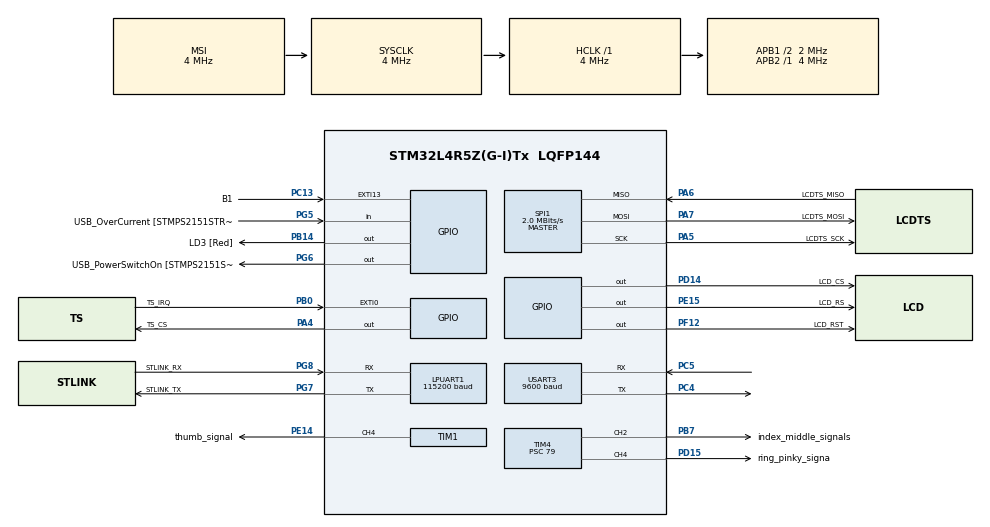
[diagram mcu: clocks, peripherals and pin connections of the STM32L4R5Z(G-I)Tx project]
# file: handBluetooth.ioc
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Dma.Request0=SPI1_RX
Dma.Request1=SPI1_TX
Dma.SPI1_RX.0.Direction=DMA_PERIPH_TO_MEMORY
Dma.SPI1_RX.0.EventEnable=DISABLE
Dma.SPI1_RX.0.Instance=DMA1_Channel1
Dma.SPI1_RX.0.MemDataAlignment=DMA_MDATAALIGN_BYTE
Dma.SPI1_RX.0.MemInc=DMA_MINC_ENABLE
Dma.SPI1_RX.0.Mode=DMA_NORMAL
Dma.SPI1_RX.0.PeriphDataAlignment=DMA_PDATAALIGN_HALFWORD
Dma.SPI1_RX.0.PeriphInc=DMA_PINC_DISABLE
Dma.SPI1_RX.0.Polarity=HAL_DMAMUX_REQUEST_GEN_RISING
Dma.SPI1_RX.0.Priority=DMA_PRIORITY_LOW
Dma.SPI1_RX.0.RequestNumber=1
Dma.SPI1_RX.0.SignalID=NONE
Dma.SPI1_RX.0.SyncEnable=DISABLE
Dma.SPI1_RX.0.SyncPolarity=HAL_DMAMUX_SYNC_NO_EVENT
Dma.SPI1_RX.0.SyncRequestNumber=1
Dma.SPI1_RX.0.SyncSignalID=NONE
Dma.SPI1_TX.1.Direction=DMA_MEMORY_TO_PERIPH
Dma.SPI1_TX.1.EventEnable=DISABLE
Dma.SPI1_TX.1.Instance=DMA1_Channel2
Dma.SPI1_TX.1.MemDataAlignment=DMA_MDATAALIGN_BYTE
Dma.SPI1_TX.1.MemInc=DMA_MINC_ENABLE
Dma.SPI1_TX.1.Mode=DMA_NORMAL
Dma.SPI1_TX.1.PeriphDataAlignment=DMA_PDATAALIGN_BYTE
Dma.SPI1_TX.1.PeriphInc=DMA_PINC_DISABLE
Dma.SPI1_TX.1.Polarity=HAL_DMAMUX_REQUEST_GEN_RISING
Dma.SPI1_TX.1.Priority=DMA_PRIORITY_LOW
Dma.SPI1_TX.1.RequestNumber=1
Dma.SPI1_TX.1.SignalID=NONE
Dma.SPI1_TX.1.SyncEnable=DISABLE
Dma.SPI1_TX.1.SyncPolarity=HAL_DMAMUX_SYNC_NO_EVENT
Dma.SPI1_TX.1.SyncRequestNumber=1
Dma.SPI1_TX.1.SyncSignalID=NONE
LPUART1.BaudRate=115200
LPUART1.WordLength=UART_WORDLENGTH_8B
Mcu.Family=STM32L4
Mcu.Name=STM32L4R5Z(G-I)Tx
Mcu.Package=LQFP144
NVIC.DMA1_Channel1_IRQn=true\:0\:0\:false\:false\:true\:false\:true\:true
NVIC.DMA1_Channel2_IRQn=true\:0\:0\:false\:false\:true\:false\:true\:true
NVIC.EXTI0_IRQn=true\:0\:0\:false\:false\:true\:true\:true\:true
NVIC.PriorityGroup=NVIC_PRIORITYGROUP_4
NVIC.SPI1_IRQn=true\:0\:0\:false\:false\:true\:true\:true\:true
NVIC.USART3_IRQn=true\:0\:0\:false\:false\:true\:true\:true\:true
PA10.GPIO_Label=USB_ID
PA10.Signal=USB_OTG_FS_ID
PA11.GPIO_Label=USB_DM
PA11.Signal=USB_OTG_FS_DM
PA12.GPIO_Label=USB_DP
PA12.Signal=USB_OTG_FS_DP
PA13\ (JTMS/SWDIO).GPIO_Label=TMS
PA13\ (JTMS/SWDIO).Signal=SYS_JTMS-SWDIO
PA14\ (JTCK/SWCLK).GPIO_Label=TCK
PA14\ (JTCK/SWCLK).Signal=SYS_JTCK-SWCLK
PA4.GPIO_Label=TS_CS
PA4.PinState=GPIO_PIN_SET
PA4.Signal=GPIO_Output
PA5.GPIO_Label=LCDTS_SCK
PA5.Mode=Full_Duplex_Master
PA5.Signal=SPI1_SCK
PA6.GPIO_Label=LCDTS_MISO
PA6.Mode=Full_Duplex_Master
PA6.Signal=SPI1_MISO
PA7.GPIO_Label=LCDTS_MOSI
PA7.Mode=Full_Duplex_Master
PA7.Signal=SPI1_MOSI
PA8.GPIO_Label=USB_SOF [TP1]
PA8.Signal=USB_OTG_FS_SOF
PA9.GPIO_Label=USB_VBUS
PA9.Signal=USB_OTG_FS_VBUS
PB0.GPIO_Label=TS_IRQ
PB0.GPIO_ModeDefaultEXTI=GPIO_MODE_IT_FALLING
PB0.GPIO_PuPd=GPIO_NOPULL
PB0.Signal=GPXTI0
PB14.GPIO_Label=LD3 [Red]
PB14.PinState=GPIO_PIN_RESET
PB14.Signal=GPIO_Output
PB7.GPIO_Label=index_middle_signals
PB7.Signal=S_TIM4_CH2
PC13.GPIO_Label=B1
PC13.Signal=GPXTI13
PC14-OSC32_IN\ (PC14).Mode=LSE-External-Oscillator
PC14-OSC32_IN\ (PC14).Signal=RCC_OSC32_IN
PC15-OSC32_OUT\ (PC15).Mode=LSE-External-Oscillator
PC15-OSC32_OUT\ (PC15).Signal=RCC_OSC32_OUT
PC4.Mode=Asynchronous
PC4.Signal=USART3_TX
PC5.Mode=Asynchronous
PC5.Signal=USART3_RX
PD14.GPIO_Label=LCD_CS
PD14.GPIO_Speed=GPIO_SPEED_FREQ_VERY_HIGH
PD14.PinState=GPIO_PIN_SET
PD14.Signal=GPIO_Output
PD15.GPIO_Label=ring_pinky_signa
PD15.Signal=S_TIM4_CH4
PE14.GPIO_Label=thumb_signal
PE14.Signal=S_TIM1_CH4
PE15.GPIO_Label=LCD_RS
PE15.GPIO_Speed=GPIO_SPEED_FREQ_VERY_HIGH
PE15.Signal=GPIO_Output
PF12.GPIO_Label=LCD_RST
PF12.GPIO_Speed=GPIO_SPEED_FREQ_LOW
PF12.PinState=GPIO_PIN_SET
PF12.Signal=GPIO_Output
PG5.GPIO_Label=USB_OverCurrent [STMPS2151STR_FAULT]
PG5.Signal=GPIO_Input
PG6.GPIO_Label=USB_PowerSwitchOn [STMPS2151STR_En]
PG6.Signal=GPIO_Output
PG7.GPIO_Label=STLINK_TX
PG7.Mode=Asynchronous
PG7.Signal=LPUART1_TX
PG8.GPIO_Label=STLINK_RX
PG8.Mode=Asynchronous
PG8.Signal=LPUART1_RX
PH0-OSC_IN\ (PH0).Mode=HSE-External-Clock-Source
PH0-OSC_IN\ (PH0).Signal=RCC_OSC_IN
PH1-OSC_OUT\ (PH1).Signal=RCC_OSC_OUT
ProjectManager.HeapSize=0x200
ProjectManager.StackSize=0x400
ProjectManager.TargetToolchain=STM32CubeIDE
RCC.48MHZClocksFreq_Value=24000000
RCC.ADCFreq_Value=16000000
RCC.AHBFreq_Value=4000000
RCC.APB1CLKDivider=RCC_HCLK_DIV2
RCC.APB1Freq_Value=2000000
RCC.APB1TimFreq_Value=4000000
RCC.APB2Freq_Value=4000000
RCC.APB2TimFreq_Value=4000000
RCC.CortexFreq_Value=4000000
RCC.HCLKFreq_Value=4000000
RCC.HSE_VALUE=8000000
RCC.HSI48_VALUE=48000000
RCC.HSI_VALUE=16000000
RCC.MSI_VALUE=4000000
RCC.PLLMUL=RCC_PLL_MUL9
RCC.PRESCALERUSB=RCC_USBCLKSOURCE_PLL_DIV1_5
RCC.SYSCLKFreq_VALUE=4000000
RCC.SYSCLKSourceVirtual=RCC_SYSCLKSOURCE_PLLCLK
RCC.USBFreq_Value=16000000
RCC.VCOOutputFreq_Value=32000000
SH.S_TIM1_CH4.0=TIM1_CH4,PWM Generation4 CH4
SH.S_TIM4_CH2.0=TIM4_CH2,PWM Generation2 CH2
SH.S_TIM4_CH4.0=TIM4_CH4,PWM Generation4 CH4
SPI1.BaudRatePrescaler=SPI_BAUDRATEPRESCALER_2
SPI1.CalculateBaudRate=2.0 MBits/s
SPI1.DataSize=SPI_DATASIZE_8BIT
SPI1.Direction=SPI_DIRECTION_2LINES
SPI1.Mode=SPI_MODE_MASTER
SPI1.VirtualType=VM_MASTER
TIM1.AutoReloadPreload=TIM_AUTORELOAD_PRELOAD_ENABLE
TIM1.Channel-PWM\ Generation4\ CH4=TIM_CHANNEL_4
TIM1.Period=999
TIM1.Prescaler=79
TIM1.Pulse-PWM\ Generation4\ CH4=250
TIM4.AutoReloadPreload=TIM_AUTORELOAD_PRELOAD_ENABLE
TIM4.Channel-PWM\ Generation2\ CH2=TIM_CHANNEL_2
TIM4.Channel-PWM\ Generation4\ CH4=TIM_CHANNEL_4
TIM4.Period=999
TIM4.Prescaler=79
TIM4.Pulse-PWM\ Generation2\ CH2=50
USART3.BaudRate=9600
USART3.VirtualMode-Asynchronous=VM_ASYNC
board=NUCLEO-L4R5ZI

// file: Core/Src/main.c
/* USER CODE BEGIN Header */
/**
  ******************************************************************************
  * @file           : main.c
  * @brief          : Main program body
  ******************************************************************************
  * @attention
  *
  * Copyright (c) 2025 STMicroelectronics.
  * All rights reserved.
  *
  * This software is licensed under terms that can be found in the LICENSE file
  * in the root directory of this software component.
  * If no LICENSE file comes with this software, it is provided AS-IS.
  *
  ******************************************************************************
  */
/* USER CODE END Header */
#include "main.h"

/* USER CODE BEGIN Includes */
#include "game.h"
#include "stdio.h"

/* USER CODE END Includes */

UART_HandleTypeDef hlpuart1;
UART_HandleTypeDef huart3;

SPI_HandleTypeDef hspi1;
DMA_HandleTypeDef hdma_spi1_rx;
DMA_HandleTypeDef hdma_spi1_tx;

TIM_HandleTypeDef htim1;
TIM_HandleTypeDef htim4;

void SystemClock_Config(void);
static void MX_GPIO_Init(void);
static void MX_DMA_Init(void);
static void MX_SPI1_Init(void);
static void MX_TIM1_Init(void);
static void MX_TIM4_Init(void);
static void MX_USART3_UART_Init(void);
static void MX_LPUART1_UART_Init(void);

/* USER CODE BEGIN 0 */
#ifdef __GNUC__
#define PUTCHAR_PROTOTYPE int __io_putchar(int ch)
#else
#define PUTCHAR_PROTOTYPE int fputc(int ch, FILE *f)
#endif

PUTCHAR_PROTOTYPE
{
    HAL_UART_Transmit(&hlpuart1, (uint8_t *)&ch, 1, HAL_MAX_DELAY);
    return ch;
}

uint8_t input_gesture;

uint32_t update_ccr(uint32_t originalVal, uint32_t target) {
	if (target > originalVal) {
		return originalVal + 5;
	}
	else if (target < originalVal) {
		return originalVal - 5;
	}
	return originalVal;
}

void move_hand(Gesture robotMove)
{
	 uint32_t thumb_target;
	 uint32_t index_middle_target;
	 uint32_t ring_pinky_target;
	//  CCR 50 = 0 degrees, CCR 150 = 90 degrees, CCR 250 = 180 degrees

	  if (robotMove == ROCK) { // thumb ccr to 250, other timers' CCR set to 50
		  thumb_target = 250;
		  index_middle_target = 50;
		  ring_pinky_target = 50;
	}
	 else if (robotMove == PAPER) { // thumb ccr to 50, other timers' CCR set to 250
		  thumb_target = 50;
		  index_middle_target = 250;
		  ring_pinky_target = 250;
	 }
	 else if (robotMove == SCISSORS) {
		 thumb_target = 250;
		 index_middle_target = 250;
		 ring_pinky_target = 50;
	 }
	 else if (robotMove == NOCHOICE) {
		 thumb_target = 150;
		 index_middle_target = 125;
		 ring_pinky_target = 125;
	  }
	  uint32_t thumb_ccr =  htim1.Instance->CCR4;
	  uint32_t index_middle_ccr = htim4.Instance->CCR2;
	  uint32_t ring_pinky_ccr = htim4.Instance->CCR4;

	  while (thumb_ccr != thumb_target || (index_middle_target != index_middle_ccr) || (ring_pinky_target != ring_pinky_ccr)) {
		 if (thumb_ccr != thumb_target) {
			 __HAL_TIM_SET_COMPARE(&htim1, TIM_CHANNEL_4, update_ccr(thumb_ccr, thumb_target));
		 }
		 if (index_middle_ccr != index_middle_target) {

			 __HAL_TIM_SET_COMPARE(&htim4, TIM_CHANNEL_2, update_ccr(index_middle_ccr, index_middle_target));
		 }
		 else if (ring_pinky_ccr != ring_pinky_target) {

			 __HAL_TIM_SET_COMPARE(&htim4, TIM_CHANNEL_4, update_ccr(ring_pinky_ccr, ring_pinky_target));
		 }
		thumb_ccr =  htim1.Instance->CCR4;
		index_middle_ccr = htim4.Instance->CCR2;
		ring_pinky_ccr = htim4.Instance->CCR4;
		HAL_Delay(1);
	}

}

void run_all_test() {
	move_hand(PAPER);
	HAL_Delay(2000);
	move_hand(ROCK);
	HAL_Delay(2000);
}

void run_test() {
		move_hand(NOCHOICE);
		  HAL_Delay(2000);
		  move_hand(PAPER);
		  HAL_Delay(2000);
		  move_hand(NOCHOICE);
		  HAL_Delay(2000);
		  move_hand(SCISSORS);
		  HAL_Delay(2000);
		  move_hand(ROCK);
		  HAL_Delay(2000);
}

/* USER CODE END 0 */

int main(void)
{

  /* MCU Configuration--------------------------------------------------------*/

  /* Reset of all peripherals, Initializes the Flash interface and the Systick. */
  HAL_Init();

  /* Configure the system clock */
  SystemClock_Config();

  /* Initialize all configured peripherals */
  MX_GPIO_Init();
  MX_DMA_Init();
  MX_SPI1_Init();
  MX_TIM1_Init();
  MX_TIM4_Init();
  MX_USART3_UART_Init();
  MX_LPUART1_UART_Init();
  /* USER CODE BEGIN 2 */

  // Start timers for hand: start off with paper
   HAL_TIM_PWM_Start(&htim4, TIM_CHANNEL_2);  // index and middle fingers: CCR=250 is stretched, CCR=50 is curled
   HAL_TIM_PWM_Start(&htim4, TIM_CHANNEL_4);
   HAL_TIM_PWM_Start(&htim1, TIM_CHANNEL_4); // thumb finger: CCR=50 is stretched, CCR=250 is curled

  /* USER CODE END 2 */

  /* Infinite loop */
  /* USER CODE BEGIN WHILE */
  while (1)
  {
	  // run_all_test();
	  char cmd;
		     if (HAL_UART_Receive(&huart3, (uint8_t*)&cmd, 1, 1000) == HAL_OK) {
		         printf("Received: %c\r\n", cmd);

		         if (cmd == 'R') move_hand(ROCK);
		         else if (cmd == 'P') move_hand(PAPER);
		         else if (cmd == 'S') move_hand(SCISSORS);
		         else {
		        	 move_hand(NOCHOICE);
		         }

		     }
    /* USER CODE END WHILE */

  }
}

void SystemClock_Config(void)
{
  RCC_OscInitTypeDef RCC_OscInitStruct = {0};
  RCC_ClkInitTypeDef RCC_ClkInitStruct = {0};

  /** Configure the main internal regulator output voltage
  */
  if (HAL_PWREx_ControlVoltageScaling(PWR_REGULATOR_VOLTAGE_SCALE1) != HAL_OK)
  {
    Error_Handler();
  }

  /** Initializes the RCC Oscillators according to the specified parameters
  * in the RCC_OscInitTypeDef structure.
  */
  RCC_OscInitStruct.OscillatorType = RCC_OSCILLATORTYPE_MSI;
  RCC_OscInitStruct.MSIState = RCC_MSI_ON;
  RCC_OscInitStruct.MSICalibrationValue = 0;
  RCC_OscInitStruct.MSIClockRange = RCC_MSIRANGE_6;
  RCC_OscInitStruct.PLL.PLLState = RCC_PLL_NONE;
  if (HAL_RCC_OscConfig(&RCC_OscInitStruct) != HAL_OK)
  {
    Error_Handler();
  }

  /** Initializes the CPU, AHB and APB buses clocks
  */
  RCC_ClkInitStruct.ClockType = RCC_CLOCKTYPE_HCLK|RCC_CLOCKTYPE_SYSCLK
                              |RCC_CLOCKTYPE_PCLK1|RCC_CLOCKTYPE_PCLK2;
  RCC_ClkInitStruct.SYSCLKSource = RCC_SYSCLKSOURCE_MSI;
  RCC_ClkInitStruct.AHBCLKDivider = RCC_SYSCLK_DIV1;
  RCC_ClkInitStruct.APB1CLKDivider = RCC_HCLK_DIV2;
  RCC_ClkInitStruct.APB2CLKDivider = RCC_HCLK_DIV1;

  if (HAL_RCC_ClockConfig(&RCC_ClkInitStruct, FLASH_LATENCY_0) != HAL_OK)
  {
    Error_Handler();
  }
}

static void MX_LPUART1_UART_Init(void)
{

  hlpuart1.Instance = LPUART1;
  hlpuart1.Init.BaudRate = 115200;
  hlpuart1.Init.WordLength = UART_WORDLENGTH_8B;
  hlpuart1.Init.StopBits = UART_STOPBITS_1;
  hlpuart1.Init.Parity = UART_PARITY_NONE;
  hlpuart1.Init.Mode = UART_MODE_TX_RX;
  hlpuart1.Init.HwFlowCtl = UART_HWCONTROL_NONE;
  hlpuart1.Init.OneBitSampling = UART_ONE_BIT_SAMPLE_DISABLE;
  hlpuart1.Init.ClockPrescaler = UART_PRESCALER_DIV1;
  hlpuart1.AdvancedInit.AdvFeatureInit = UART_ADVFEATURE_NO_INIT;
  hlpuart1.FifoMode = UART_FIFOMODE_DISABLE;
  if (HAL_UART_Init(&hlpuart1) != HAL_OK)
  {
    Error_Handler();
  }
  if (HAL_UARTEx_SetTxFifoThreshold(&hlpuart1, UART_TXFIFO_THRESHOLD_1_8) != HAL_OK)
  {
    Error_Handler();
  }
  if (HAL_UARTEx_SetRxFifoThreshold(&hlpuart1, UART_RXFIFO_THRESHOLD_1_8) != HAL_OK)
  {
    Error_Handler();
  }
  if (HAL_UARTEx_DisableFifoMode(&hlpuart1) != HAL_OK)
  {
    Error_Handler();
  }

}

static void MX_USART3_UART_Init(void)
{

  huart3.Instance = USART3;
  huart3.Init.BaudRate = 9600;
  huart3.Init.WordLength = UART_WORDLENGTH_8B;
  huart3.Init.StopBits = UART_STOPBITS_1;
  huart3.Init.Parity = UART_PARITY_NONE;
  huart3.Init.Mode = UART_MODE_TX_RX;
  huart3.Init.HwFlowCtl = UART_HWCONTROL_NONE;
  huart3.Init.OverSampling = UART_OVERSAMPLING_16;
  huart3.Init.OneBitSampling = UART_ONE_BIT_SAMPLE_DISABLE;
  huart3.Init.ClockPrescaler = UART_PRESCALER_DIV1;
  huart3.AdvancedInit.AdvFeatureInit = UART_ADVFEATURE_NO_INIT;
  if (HAL_UART_Init(&huart3) != HAL_OK)
  {
    Error_Handler();
  }
  if (HAL_UARTEx_SetTxFifoThreshold(&huart3, UART_TXFIFO_THRESHOLD_1_8) != HAL_OK)
  {
    Error_Handler();
  }
  if (HAL_UARTEx_SetRxFifoThreshold(&huart3, UART_RXFIFO_THRESHOLD_1_8) != HAL_OK)
  {
    Error_Handler();
  }
  if (HAL_UARTEx_DisableFifoMode(&huart3) != HAL_OK)
  {
    Error_Handler();
  }

}

static void MX_SPI1_Init(void)
{

  /* SPI1 parameter configuration*/
  hspi1.Instance = SPI1;
  hspi1.Init.Mode = SPI_MODE_MASTER;
  hspi1.Init.Direction = SPI_DIRECTION_2LINES;
  hspi1.Init.DataSize = SPI_DATASIZE_8BIT;
  hspi1.Init.CLKPolarity = SPI_POLARITY_LOW;
  hspi1.Init.CLKPhase = SPI_PHASE_1EDGE;
  hspi1.Init.NSS = SPI_NSS_SOFT;
  hspi1.Init.BaudRatePrescaler = SPI_BAUDRATEPRESCALER_2;
  hspi1.Init.FirstBit = SPI_FIRSTBIT_MSB;
  hspi1.Init.TIMode = SPI_TIMODE_DISABLE;
  hspi1.Init.CRCCalculation = SPI_CRCCALCULATION_DISABLE;
  hspi1.Init.CRCPolynomial = 7;
  hspi1.Init.CRCLength = SPI_CRC_LENGTH_DATASIZE;
  hspi1.Init.NSSPMode = SPI_NSS_PULSE_ENABLE;
  if (HAL_SPI_Init(&hspi1) != HAL_OK)
  {
    Error_Handler();
  }

}

static void MX_TIM1_Init(void)
{

  TIM_MasterConfigTypeDef sMasterConfig = {0};
  TIM_OC_InitTypeDef sConfigOC = {0};
  TIM_BreakDeadTimeConfigTypeDef sBreakDeadTimeConfig = {0};

  htim1.Instance = TIM1;
  htim1.Init.Prescaler = 79;
  htim1.Init.CounterMode = TIM_COUNTERMODE_UP;
  htim1.Init.Period = 999;
  htim1.Init.ClockDivision = TIM_CLOCKDIVISION_DIV1;
  htim1.Init.RepetitionCounter = 0;
  htim1.Init.AutoReloadPreload = TIM_AUTORELOAD_PRELOAD_ENABLE;
  if (HAL_TIM_PWM_Init(&htim1) != HAL_OK)
  {
    Error_Handler();
  }
  sMasterConfig.MasterOutputTrigger = TIM_TRGO_RESET;
  sMasterConfig.MasterOutputTrigger2 = TIM_TRGO2_RESET;
  sMasterConfig.MasterSlaveMode = TIM_MASTERSLAVEMODE_DISABLE;
  if (HAL_TIMEx_MasterConfigSynchronization(&htim1, &sMasterConfig) != HAL_OK)
  {
    Error_Handler();
  }
  sConfigOC.OCMode = TIM_OCMODE_PWM1;
  sConfigOC.Pulse = 250;
  sConfigOC.OCPolarity = TIM_OCPOLARITY_HIGH;
  sConfigOC.OCFastMode = TIM_OCFAST_DISABLE;
  sConfigOC.OCIdleState = TIM_OCIDLESTATE_RESET;
  sConfigOC.OCNIdleState = TIM_OCNIDLESTATE_RESET;
  if (HAL_TIM_PWM_ConfigChannel(&htim1, &sConfigOC, TIM_CHANNEL_4) != HAL_OK)
  {
    Error_Handler();
  }
  sBreakDeadTimeConfig.OffStateRunMode = TIM_OSSR_DISABLE;
  sBreakDeadTimeConfig.OffStateIDLEMode = TIM_OSSI_DISABLE;
  sBreakDeadTimeConfig.LockLevel = TIM_LOCKLEVEL_OFF;
  sBreakDeadTimeConfig.DeadTime = 0;
  sBreakDeadTimeConfig.BreakState = TIM_BREAK_DISABLE;
  sBreakDeadTimeConfig.BreakPolarity = TIM_BREAKPOLARITY_HIGH;
  sBreakDeadTimeConfig.BreakFilter = 0;
  sBreakDeadTimeConfig.Break2State = TIM_BREAK2_DISABLE;
  sBreakDeadTimeConfig.Break2Polarity = TIM_BREAK2POLARITY_HIGH;
  sBreakDeadTimeConfig.Break2Filter = 0;
  sBreakDeadTimeConfig.AutomaticOutput = TIM_AUTOMATICOUTPUT_DISABLE;
  if (HAL_TIMEx_ConfigBreakDeadTime(&htim1, &sBreakDeadTimeConfig) != HAL_OK)
  {
    Error_Handler();
  }
  HAL_TIM_MspPostInit(&htim1);

}

static void MX_TIM4_Init(void)
{

  TIM_MasterConfigTypeDef sMasterConfig = {0};
  TIM_OC_InitTypeDef sConfigOC = {0};

  htim4.Instance = TIM4;
  htim4.Init.Prescaler = 79;
  htim4.Init.CounterMode = TIM_COUNTERMODE_UP;
  htim4.Init.Period = 999;
  htim4.Init.ClockDivision = TIM_CLOCKDIVISION_DIV1;
  htim4.Init.AutoReloadPreload = TIM_AUTORELOAD_PRELOAD_ENABLE;
  if (HAL_TIM_PWM_Init(&htim4) != HAL_OK)
  {
    Error_Handler();
  }
  sMasterConfig.MasterOutputTrigger = TIM_TRGO_RESET;
  sMasterConfig.MasterSlaveMode = TIM_MASTERSLAVEMODE_DISABLE;
  if (HAL_TIMEx_MasterConfigSynchronization(&htim4, &sMasterConfig) != HAL_OK)
  {
    Error_Handler();
  }
  sConfigOC.OCMode = TIM_OCMODE_PWM1;
  sConfigOC.Pulse = 50;
  sConfigOC.OCPolarity = TIM_OCPOLARITY_HIGH;
  sConfigOC.OCFastMode = TIM_OCFAST_DISABLE;
  if (HAL_TIM_PWM_ConfigChannel(&htim4, &sConfigOC, TIM_CHANNEL_2) != HAL_OK)
  {
    Error_Handler();
  }
  sConfigOC.Pulse = 0;
  if (HAL_TIM_PWM_ConfigChannel(&htim4, &sConfigOC, TIM_CHANNEL_4) != HAL_OK)
  {
    Error_Handler();
  }
  HAL_TIM_MspPostInit(&htim4);

}

static void MX_DMA_Init(void)
{

  /* DMA controller clock enable */
  __HAL_RCC_DMAMUX1_CLK_ENABLE();
  __HAL_RCC_DMA1_CLK_ENABLE();

  /* DMA interrupt init */
  /* DMA1_Channel1_IRQn interrupt configuration */
  HAL_NVIC_SetPriority(DMA1_Channel1_IRQn, 0, 0);
  HAL_NVIC_EnableIRQ(DMA1_Channel1_IRQn);
  /* DMA1_Channel2_IRQn interrupt configuration */
  HAL_NVIC_SetPriority(DMA1_Channel2_IRQn, 0, 0);
  HAL_NVIC_EnableIRQ(DMA1_Channel2_IRQn);

}

static void MX_GPIO_Init(void)
{
  GPIO_InitTypeDef GPIO_InitStruct = {0};

  /* GPIO Ports Clock Enable */
  __HAL_RCC_GPIOC_CLK_ENABLE();
  __HAL_RCC_GPIOH_CLK_ENABLE();
  __HAL_RCC_GPIOA_CLK_ENABLE();
  __HAL_RCC_GPIOB_CLK_ENABLE();
  __HAL_RCC_GPIOF_CLK_ENABLE();
  __HAL_RCC_GPIOE_CLK_ENABLE();
  __HAL_RCC_GPIOD_CLK_ENABLE();
  __HAL_RCC_GPIOG_CLK_ENABLE();
  HAL_PWREx_EnableVddIO2();

  /*Configure GPIO pin Output Level */
  HAL_GPIO_WritePin(TS_CS_GPIO_Port, TS_CS_Pin, GPIO_PIN_SET);

  /*Configure GPIO pin Output Level */
  HAL_GPIO_WritePin(LCD_RST_GPIO_Port, LCD_RST_Pin, GPIO_PIN_SET);

  /*Configure GPIO pin Output Level */
  HAL_GPIO_WritePin(LCD_RS_GPIO_Port, LCD_RS_Pin, GPIO_PIN_RESET);

  /*Configure GPIO pin Output Level */
  HAL_GPIO_WritePin(LD3_GPIO_Port, LD3_Pin, GPIO_PIN_RESET);

  /*Configure GPIO pin Output Level */
  HAL_GPIO_WritePin(LCD_CS_GPIO_Port, LCD_CS_Pin, GPIO_PIN_SET);

  /*Configure GPIO pin Output Level */
  HAL_GPIO_WritePin(USB_PowerSwitchOn_GPIO_Port, USB_PowerSwitchOn_Pin, GPIO_PIN_RESET);

  /*Configure GPIO pin : B1_Pin */
  GPIO_InitStruct.Pin = B1_Pin;
  GPIO_InitStruct.Mode = GPIO_MODE_IT_RISING;
  GPIO_InitStruct.Pull = GPIO_NOPULL;
  HAL_GPIO_Init(B1_GPIO_Port, &GPIO_InitStruct);

  /*Configure GPIO pin : TS_CS_Pin */
  GPIO_InitStruct.Pin = TS_CS_Pin;
  GPIO_InitStruct.Mode = GPIO_MODE_OUTPUT_PP;
  GPIO_InitStruct.Pull = GPIO_NOPULL;
  GPIO_InitStruct.Speed = GPIO_SPEED_FREQ_LOW;
  HAL_GPIO_Init(TS_CS_GPIO_Port, &GPIO_InitStruct);

  /*Configure GPIO pin : TS_IRQ_Pin */
  GPIO_InitStruct.Pin = TS_IRQ_Pin;
  GPIO_InitStruct.Mode = GPIO_MODE_IT_FALLING;
  GPIO_InitStruct.Pull = GPIO_NOPULL;
  HAL_GPIO_Init(TS_IRQ_GPIO_Port, &GPIO_InitStruct);

  /*Configure GPIO pin : LCD_RST_Pin */
  GPIO_InitStruct.Pin = LCD_RST_Pin;
  GPIO_InitStruct.Mode = GPIO_MODE_OUTPUT_PP;
  GPIO_InitStruct.Pull = GPIO_NOPULL;
  GPIO_InitStruct.Speed = GPIO_SPEED_FREQ_LOW;
  HAL_GPIO_Init(LCD_RST_GPIO_Port, &GPIO_InitStruct);

  /*Configure GPIO pin : LCD_RS_Pin */
  GPIO_InitStruct.Pin = LCD_RS_Pin;
  GPIO_InitStruct.Mode = GPIO_MODE_OUTPUT_PP;
  GPIO_InitStruct.Pull = GPIO_NOPULL;
  GPIO_InitStruct.Speed = GPIO_SPEED_FREQ_VERY_HIGH;
  HAL_GPIO_Init(LCD_RS_GPIO_Port, &GPIO_InitStruct);

  /*Configure GPIO pin : LD3_Pin */
  GPIO_InitStruct.Pin = LD3_Pin;
  GPIO_InitStruct.Mode = GPIO_MODE_OUTPUT_PP;
  GPIO_InitStruct.Pull = GPIO_NOPULL;
  GPIO_InitStruct.Speed = GPIO_SPEED_FREQ_LOW;
  HAL_GPIO_Init(LD3_GPIO_Port, &GPIO_InitStruct);

  /*Configure GPIO pin : LCD_CS_Pin */
  GPIO_InitStruct.Pin = LCD_CS_Pin;
  GPIO_InitStruct.Mode = GPIO_MODE_OUTPUT_PP;
  GPIO_InitStruct.Pull = GPIO_NOPULL;
  GPIO_InitStruct.Speed = GPIO_SPEED_FREQ_VERY_HIGH;
  HAL_GPIO_Init(LCD_CS_GPIO_Port, &GPIO_InitStruct);

  /*Configure GPIO pin : USB_OverCurrent_Pin */
  GPIO_InitStruct.Pin = USB_OverCurrent_Pin;
  GPIO_InitStruct.Mode = GPIO_MODE_INPUT;
  GPIO_InitStruct.Pull = GPIO_NOPULL;
  HAL_GPIO_Init(USB_OverCurrent_GPIO_Port, &GPIO_InitStruct);

  /*Configure GPIO pin : USB_PowerSwitchOn_Pin */
  GPIO_InitStruct.Pin = USB_PowerSwitchOn_Pin;
  GPIO_InitStruct.Mode = GPIO_MODE_OUTPUT_PP;
  GPIO_InitStruct.Pull = GPIO_NOPULL;
  GPIO_InitStruct.Speed = GPIO_SPEED_FREQ_LOW;
  HAL_GPIO_Init(USB_PowerSwitchOn_GPIO_Port, &GPIO_InitStruct);

  /*Configure GPIO pins : USB_SOF_Pin USB_ID_Pin USB_DM_Pin USB_DP_Pin */
  GPIO_InitStruct.Pin = USB_SOF_Pin|USB_ID_Pin|USB_DM_Pin|USB_DP_Pin;
  GPIO_InitStruct.Mode = GPIO_MODE_AF_PP;
  GPIO_InitStruct.Pull = GPIO_NOPULL;
  GPIO_InitStruct.Speed = GPIO_SPEED_FREQ_VERY_HIGH;
  GPIO_InitStruct.Alternate = GPIO_AF10_OTG_FS;
  HAL_GPIO_Init(GPIOA, &GPIO_InitStruct);

  /*Configure GPIO pin : USB_VBUS_Pin */
  GPIO_InitStruct.Pin = USB_VBUS_Pin;
  GPIO_InitStruct.Mode = GPIO_MODE_INPUT;
  GPIO_InitStruct.Pull = GPIO_NOPULL;
  HAL_GPIO_Init(USB_VBUS_GPIO_Port, &GPIO_InitStruct);

  /* EXTI interrupt init*/
  HAL_NVIC_SetPriority(EXTI0_IRQn, 0, 0);
  HAL_NVIC_EnableIRQ(EXTI0_IRQn);

}

void Error_Handler(void)
{
  __disable_irq();
  while (1)
  {
  }
}
